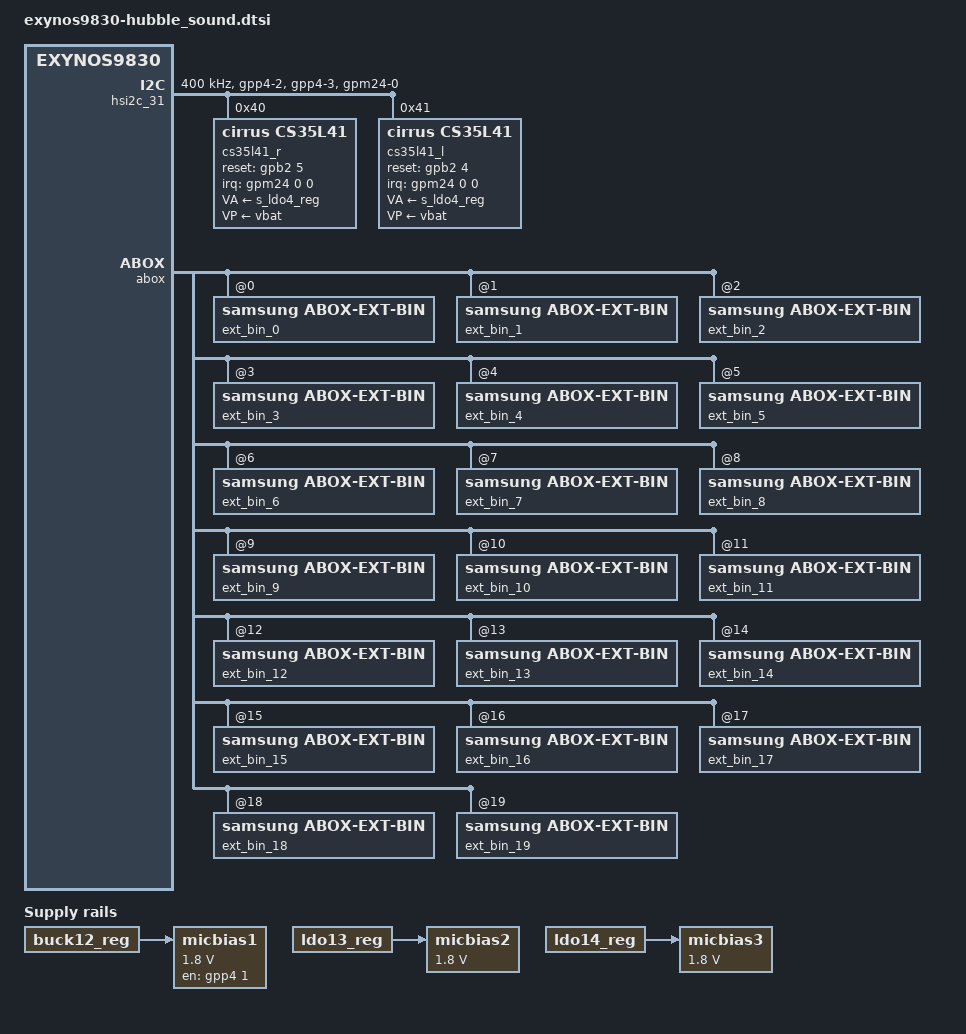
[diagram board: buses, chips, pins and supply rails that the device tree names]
/*
 * Samsung's Picasso SoC soundcard device tree source
 *
 * Copyright (c) 2019 Samsung Electronics Co., Ltd.
 *		http://www.samsung.com
 *
 * This program is free software; you can redistribute it and/or modify
 * it under the terms of the GNU General Public License version 2 as
 * published by the Free Software Foundation.
*/

/ {
	fragment@model {
		target-path = "/";
		__overlay__ {
			micbias1: fixedregulator@1 {
				compatible = "regulator-fixed";
				regulator-name = "main_micbias_1p8";
				regulator-min-microvolt = <1800000>;
				regulator-max-microvolt = <1800000>;
				gpio = <&gpp4 1 0>;
				enable-active-high;
				vin-supply = <&buck12_reg>;
			};

			micbias2: fixedregulator@2 {
				compatible = "regulator-fixed";
				regulator-name = "sub_micbias_1p8";
				regulator-min-microvolt = <1800000>;
				regulator-max-microvolt = <1800000>;
				vin-supply = <&ldo13_reg>;
			};

			micbias3: fixedregulator@3 {
				compatible = "regulator-fixed";
				regulator-name = "3rd_micbias_1p8";
				regulator-min-microvolt = <1800000>;
				regulator-max-microvolt = <1800000>;
				vin-supply = <&ldo14_reg>;
			};

			dummy_audio_codec: audio-codec-dummy {
				compatible = "snd-soc-dummy";
			#sound-dai-cells = <0>;
			};

			dummy_audio_cpu: audio-cpu-dummy {
				compatible = "samsung,dummy-cpu";
			#sound-dai-cells = <0>;
			};

			cirrus_amps {
				compatible = "cirrus-amp";
				cirrus,num-amps = <2>;
				cirrus,amps = <&cs35l41_r &cs35l41_l>;
			};

			sound {
				compatible = "samsung,picasso-prince";

				clock-names = "xclkout";
				clocks = <&clock OSC_AUD>;

				pinctrl-names = "default";
				pinctrl-0 = <&main_mic_bias_en>;

				MICBIAS1-supply = <&micbias1>;
				MICBIAS2-supply = <&micbias2>;
				MICBIAS3-supply = <&micbias3>;

				samsung,routing = "DMIC1", "MICBIAS1",
					"DMIC2", "MICBIAS2",
					"DMIC3", "MICBIAS3",
					"RECEIVER", "Left AMP SPK",
					"SPEAKER", "Right AMP SPK",
					"BLUETOOTH SPK", "ABOX UAIF3 Playback",
					"ABOX UAIF3 Capture", "BLUETOOTH MIC",
					"USB SPK", "ABOX USB Playback",
					"ABOX USB Capture", "USB MIC",
					"FWD SPK", "ABOX FWD Playback",
					"ABOX FWD Capture", "FWD MIC",
					"VTS Virtual Output", "VTS Virtual Output Mux",
					"PAD DPDM", "DMIC1",
					"PAD DPDM", "DMIC2",
					"PAD DPDM", "DMIC3";
				samsung,codec = <&cs35l41_l &cs35l41_r &vts>;
				samsung,prefix = "Left", "Right", "VTS";
				samsung,aux = <&abox_effect &abox_tplg>;

				rdma0 {
					cpu {
						sound-dai = <&abox_rdma_0 0>;
					};
					platform {
						sound-dai = <&abox_rdma_0 0>;
					};
					codec {
						sound-dai = <&dummy_audio_codec>;
					};
				};
				rdma1 {
					cpu {
						sound-dai = <&abox_rdma_1 0>;
					};
					platform {
						sound-dai = <&abox_rdma_1 0>;
					};
					codec {
						sound-dai = <&dummy_audio_codec>;
					};
				};
				rdma2 {
					cpu {
						sound-dai = <&abox_rdma_2 0>;
					};
					platform {
						sound-dai = <&abox_rdma_2 0>;
					};
					codec {
						sound-dai = <&dummy_audio_codec>;
					};
				};
				rdma3 {
					cpu {
						sound-dai = <&abox_rdma_3 0>;
					};
					platform {
						sound-dai = <&abox_rdma_3 0>;
					};
					codec {
						sound-dai = <&dummy_audio_codec>;
					};
				};
				rdma4 {
					cpu {
						sound-dai = <&abox_rdma_4 0>;
					};
					platform {
						sound-dai = <&abox_rdma_4 0>;
					};
					codec {
						sound-dai = <&dummy_audio_codec>;
					};
				};
				rdma5 {
					cpu {
						sound-dai = <&abox_rdma_5 0>;
					};
					platform {
						sound-dai = <&abox_rdma_5 0>;
					};
					codec {
						sound-dai = <&dummy_audio_codec>;
					};
				};
				rdma6 {
					cpu {
						sound-dai = <&abox_rdma_6 0>;
					};
					platform {
						sound-dai = <&abox_rdma_6 0>;
					};
					codec {
						sound-dai = <&dummy_audio_codec>;
					};
				};
				rdma7 {
					cpu {
						sound-dai = <&abox_rdma_7 0>;
					};
					platform {
						sound-dai = <&abox_rdma_7 0>;
					};
					codec {
						sound-dai = <&dummy_audio_codec>;
					};
				};
				rdma8 {
					cpu {
						sound-dai = <&abox_rdma_8 0>;
					};
					platform {
						sound-dai = <&abox_rdma_8 0>;
					};
					codec {
						sound-dai = <&dummy_audio_codec>;
					};
				};
				rdma9 {
					cpu {
						sound-dai = <&abox_rdma_9 0>;
					};
					platform {
						sound-dai = <&abox_rdma_9 0>;
					};
					codec {
						sound-dai = <&dummy_audio_codec>;
					};
				};
				rdma10 {
					cpu {
						sound-dai = <&abox_rdma_10 0>;
					};
					platform {
						sound-dai = <&abox_rdma_10 0>;
					};
					codec {
						sound-dai = <&dummy_audio_codec>;
					};
				};
				rdma11 {
					cpu {
						sound-dai = <&abox_rdma_11 0>;
					};
					platform {
						sound-dai = <&abox_rdma_11 0>;
					};
					codec {
						sound-dai = <&dummy_audio_codec>;
					};
				};
				wdma0 {
					cpu {
						sound-dai = <&abox_wdma_0 0>;
					};
					platform {
						sound-dai = <&abox_wdma_0 0>;
					};
					codec {
						sound-dai = <&dummy_audio_codec>;
					};
				};
				wdma1 {
					cpu {
						sound-dai = <&abox_wdma_1 0>;
					};
					platform {
						sound-dai = <&abox_wdma_1 0>;
					};
					codec {
						sound-dai = <&dummy_audio_codec>;
					};
				};
				wdma2 {
					cpu {
						sound-dai = <&abox_wdma_2 0>;
					};
					platform {
						sound-dai = <&abox_wdma_2 0>;
					};
					codec {
						sound-dai = <&dummy_audio_codec>;
					};
				};
				wdma3 {
					cpu {
						sound-dai = <&abox_wdma_3 0>;
					};
					platform {
						sound-dai = <&abox_wdma_3 0>;
					};
					codec {
						sound-dai = <&dummy_audio_codec>;
					};
				};
				wdma4 {
					cpu {
						sound-dai = <&abox_wdma_4 0>;
					};
					platform {
						sound-dai = <&abox_wdma_4 0>;
					};
					codec {
						sound-dai = <&dummy_audio_codec>;
					};
				};
				vts0 {
					cpu {
						sound-dai = <&vts 0>;
					};
					codec {
						sound-dai = <&dummy_audio_codec>;
					};
				};
				vts1 {
					cpu {
						sound-dai = <&vts 1>;
					};
					codec {
						sound-dai = <&dummy_audio_codec>;
					};
				};
				dp0_audio {
					cpu {
						sound-dai = <&displayport_adma 0>;
					};
					codec {
						sound-dai = <&dummy_audio_codec>;
					};
				};
				dp1_audio {
					cpu {
						sound-dai = <&displayport_adma 1 >;
					};
					codec {
						sound-dai = <&dummy_audio_codec>;
					};
				};
				dual0 {
					cpu {
						sound-dai = <&abox_dual_0>;
					};
					platform {
						sound-dai = <&abox_dual_0>;
					};
					codec {
						sound-dai = <&dummy_audio_codec>;
					};
				};
				dual1 {
					cpu {
						sound-dai = <&abox_dual_1>;
					};
					platform {
						sound-dai = <&abox_dual_1>;
					};
					codec {
						sound-dai = <&dummy_audio_codec>;
					};
				};
				dual2 {
					cpu {
						sound-dai = <&abox_dual_2>;
					};
					platform {
						sound-dai = <&abox_dual_2>;
					};
					codec {
						sound-dai = <&dummy_audio_codec>;
					};
				};
				dual3 {
					cpu {
						sound-dai = <&abox_dual_3>;
					};
					platform {
						sound-dai = <&abox_dual_3>;
					};
					codec {
						sound-dai = <&dummy_audio_codec>;
					};
				};
				dual4 {
					cpu {
						sound-dai = <&abox_dual_4>;
					};
					platform {
						sound-dai = <&abox_dual_4>;
					};
					codec {
						sound-dai = <&dummy_audio_codec>;
					};
				};
				ddma0 {
					cpu {
						sound-dai = <&abox_ddma_0>;
					};
					platform {
						sound-dai = <&abox_ddma_0>;
					};
					codec {
						sound-dai = <&dummy_audio_codec>;
					};
				};
				ddma1 {
					cpu {
						sound-dai = <&abox_ddma_1>;
					};
					platform {
						sound-dai = <&abox_ddma_1>;
					};
					codec {
						sound-dai = <&dummy_audio_codec>;
					};
				};
				ddma2 {
					cpu {
						sound-dai = <&abox_ddma_2>;
					};
					platform {
						sound-dai = <&abox_ddma_2>;
					};
					codec {
						sound-dai = <&dummy_audio_codec>;
					};
				};
				ddma3 {
					cpu {
						sound-dai = <&abox_ddma_3>;
					};
					platform {
						sound-dai = <&abox_ddma_3>;
					};
					codec {
						sound-dai = <&dummy_audio_codec>;
					};
				};
				ddma4 {
					cpu {
						sound-dai = <&abox_ddma_4>;
					};
					platform {
						sound-dai = <&abox_ddma_4>;
					};
					codec {
						sound-dai = <&dummy_audio_codec>;
					};
				};
				ddma5 {
					cpu {
						sound-dai = <&abox_ddma_5>;
					};
					platform {
						sound-dai = <&abox_ddma_5>;
					};
					codec {
						sound-dai = <&dummy_audio_codec>;
					};
				};
				uaif0 {
					format = "i2s";
					cpu {
						sound-dai = <&abox_uaif_0>;
					};
					codec {
						sound-dai = <&dummy_audio_codec>;
					};
				};
				uaif1 {
					format = "i2s";
					cpu {
						sound-dai = <&abox_uaif_1>;
					};
					codec {
						sound-dai = <&dummy_audio_codec>;
					};
				};
				uaif2 {
					format = "dsp_a";
					cpu {
						sound-dai = <&abox_uaif_2>;
					};
					codec {
						sound-dai = <&cs35l41_l 0 &cs35l41_r 0>;
					};
				};
				uaif3 {
					format = "i2s";
					cpu {
						sound-dai = <&abox_uaif_3>;
					};
					codec {
						sound-dai = <&dummy_audio_codec>;
					};
				};
				uaif4 {
					format = "i2s";
					cpu {
						sound-dai = <&abox_uaif_4>;
					};
					codec {
						sound-dai = <&dummy_audio_codec>;
					};
				};
				uaif5 {
					format = "i2s";
					cpu {
						sound-dai = <&abox_uaif_5>;
					};
					codec {
						sound-dai = <&dummy_audio_codec>;
					};
				};
				uaif6 {
					format = "dsp_a";
					bitclock-master;
					bitclock-inversion;
					frame-master;

					cpu {
						sound-dai = <&abox_uaif_6>;
					};
					codec {
						sound-dai = <&vts_s_lif 0>;
					};
				};
				dsif0 {
					format = "pdm";
					cpu {
						sound-dai = <&abox_dsif>;
					};
					codec {
						sound-dai = <&dummy_audio_codec>;
					};
				};
				sifs0 {
					cpu {
						sound-dai = <&abox 0>;
					};
					codec {
						sound-dai = <&dummy_audio_codec>;
					};
				};
				sifs1 {
					cpu {
						sound-dai = <&abox 1>;
					};
					codec {
						sound-dai = <&dummy_audio_codec>;
					};
				};
				sifs2 {
					cpu {
						sound-dai = <&abox 2>;
					};
					codec {
						sound-dai = <&dummy_audio_codec>;
					};
				};
				sifs3 {
					cpu {
						sound-dai = <&abox 3>;
					};
					codec {
						sound-dai = <&dummy_audio_codec>;
					};
				};
				sifs4 {
					cpu {
						sound-dai = <&abox 4>;
					};
					codec {
						sound-dai = <&dummy_audio_codec>;
					};
				};
				sifs5 {
					cpu {
						sound-dai = <&abox 5>;
					};
					codec {
						sound-dai = <&dummy_audio_codec>;
					};
				};
				nsrc0 {
					cpu {
						sound-dai = <&abox 6>;
					};
					codec {
						sound-dai = <&dummy_audio_codec>;
					};
				};
				nsrc1 {
					cpu {
						sound-dai = <&abox 7>;
					};
					codec {
						sound-dai = <&dummy_audio_codec>;
					};
				};
				nsrc2 {
					cpu {
						sound-dai = <&abox 8>;
					};
					codec {
						sound-dai = <&dummy_audio_codec>;
					};
				};
				nsrc3 {
					cpu {
						sound-dai = <&abox 9>;
					};
					codec {
						sound-dai = <&dummy_audio_codec>;
					};
				};
				nsrc4 {
					cpu {
						sound-dai = <&abox 10>;
					};
					codec {
						sound-dai = <&dummy_audio_codec>;
					};
				};
				rdma0_be {
					cpu {
						sound-dai = <&abox_rdma_0 1>;
					};
					platform {
						sound-dai = <&abox_rdma_0 1>;
					};
					codec {
						sound-dai = <&dummy_audio_codec>;
					};
				};
				rdma1_be {
					cpu {
						sound-dai = <&abox_rdma_1 1>;
					};
					platform {
						sound-dai = <&abox_rdma_1 1>;
					};
					codec {
						sound-dai = <&dummy_audio_codec>;
					};
				};
				rdma2_be {
					cpu {
						sound-dai = <&abox_rdma_2 1>;
					};
					platform {
						sound-dai = <&abox_rdma_2 1>;
					};
					codec {
						sound-dai = <&dummy_audio_codec>;
					};
				};
				rdma3_be {
					cpu {
						sound-dai = <&abox_rdma_3 1>;
					};
					platform {
						sound-dai = <&abox_rdma_3 1>;
					};
					codec {
						sound-dai = <&dummy_audio_codec>;
					};
				};
				rdma4_be {
					cpu {
						sound-dai = <&abox_rdma_4 1>;
					};
					platform {
						sound-dai = <&abox_rdma_4 1>;
					};
					codec {
						sound-dai = <&dummy_audio_codec>;
					};
				};
				rdma5_be {
					cpu {
						sound-dai = <&abox_rdma_5 1>;
					};
					platform {
						sound-dai = <&abox_rdma_5 1>;
					};
					codec {
						sound-dai = <&dummy_audio_codec>;
					};
				};
				rdma6_be {
					cpu {
						sound-dai = <&abox_rdma_6 1>;
					};
					platform {
						sound-dai = <&abox_rdma_6 1>;
					};
					codec {
						sound-dai = <&dummy_audio_codec>;
					};
				};
				rdma7_be {
					cpu {
						sound-dai = <&abox_rdma_7 1>;
					};
					platform {
						sound-dai = <&abox_rdma_7 1>;
					};
					codec {
						sound-dai = <&dummy_audio_codec>;
					};
				};
				rdma8_be {
					cpu {
						sound-dai = <&abox_rdma_8 1>;
					};
					platform {
						sound-dai = <&abox_rdma_8 1>;
					};
					codec {
						sound-dai = <&dummy_audio_codec>;
					};
				};
				rdma9_be {
					cpu {
						sound-dai = <&abox_rdma_9 1>;
					};
					platform {
						sound-dai = <&abox_rdma_9 1>;
					};
					codec {
						sound-dai = <&dummy_audio_codec>;
					};
				};
				rdma10_be {
					cpu {
						sound-dai = <&abox_rdma_10 1>;
					};
					platform {
						sound-dai = <&abox_rdma_10 1>;
					};
					codec {
						sound-dai = <&dummy_audio_codec>;
					};
				};
				rdma11_be {
					cpu {
						sound-dai = <&abox_rdma_11 1>;
					};
					platform {
						sound-dai = <&abox_rdma_11 1>;
					};
					codec {
						sound-dai = <&dummy_audio_codec>;
					};
				};
				wdma0_be {
					cpu {
						sound-dai = <&abox_wdma_0 1>;
					};
					platform {
						sound-dai = <&abox_wdma_0 1>;
					};
					codec {
						sound-dai = <&dummy_audio_codec>;
					};
				};
				wdma1_be {
					cpu {
						sound-dai = <&abox_wdma_1 1>;
					};
					platform {
						sound-dai = <&abox_wdma_1 1>;
					};
					codec {
						sound-dai = <&dummy_audio_codec>;
					};
				};
				wdma2_be {
					cpu {
						sound-dai = <&abox_wdma_2 1>;
					};
					platform {
						sound-dai = <&abox_wdma_2 1>;
					};
					codec {
						sound-dai = <&dummy_audio_codec>;
					};
				};
				wdma3_be {
					cpu {
						sound-dai = <&abox_wdma_3 1>;
					};
					platform {
						sound-dai = <&abox_wdma_3 1>;
					};
					codec {
						sound-dai = <&dummy_audio_codec>;
					};
				};
				wdma4_be {
					cpu {
						sound-dai = <&abox_wdma_4 1>;
					};
					platform {
						sound-dai = <&abox_wdma_4 1>;
					};
					codec {
						sound-dai = <&dummy_audio_codec>;
					};
				};
				usb {
					cpu {
						sound-dai = <&abox 16>;
					};
					codec {
						sound-dai = <&dummy_audio_codec>;
					};
				};
				fwd {
					cpu {
						sound-dai = <&abox 17>;
					};
					codec {
						sound-dai = <&dummy_audio_codec>;
					};
				};
			};

			sec-audio-sysfs {
				compatible = "samsung,audio-sysfs";
				status = "okay";
				audio,no-earjack;
				audio,num-amp = <2>;
			};

			sec-audio-debug {
				compatible = "samsung,audio-debug";
				status = "okay";
			};
		}; /* end of __overlay__ */
	}; /* end of fragment */
}; /* end of root */

&pinctrl_1 {
	spk_amp_int: spk-amp-int {
		samsung,pins = "gpm24-0";
		samsung,pin-function = <0xf>;
		samsung,pin-pud = <0>;
		samsung,pin-drv = <0>;
	};
};

&pinctrl_4 {
	main_mic_bias_en: main-mic-bias-en {
		samsung,pins = "gpp4-1";
		samsung,pin-function = <1>;
		samsung,pin-pud = <0>;
		samsung,pin-drv = <0>;
		samsung,pin-con-pdn = <3>;
		samsung,pin-pud-pdn = <0>;
	};
	
	hsi2c31_amp_bus: hsi2c31-amp-bus {
		samsung,pins = "gpp4-2", "gpp4-3";
		samsung,pin-function = <3>;
		samsung,pin-pud = <0>;
		samsung,pin-drv = <0>;
		samsung,pin-pud-pdn = <0>;
	};
};

&pinctrl_5 {
	spk_amp_rst_n: spk-amp-rst-n {
		samsung,pins ="gpb2-5";
		samsung,pin-function = <1>;
		samsung,pin-val = <0>;
		samsung,pin-pud = <0>;
		samsung,pin-con-pdn =<3>;
		samsung,pin-pud-pdn = <0>;
	};
	rcv_amp_rst_n: rcv-amp-rst-n {
		samsung,pins ="gpb2-4";
		samsung,pin-function = <1>;
		samsung,pin-val = <0>;
		samsung,pin-pud = <0>;
		samsung,pin-con-pdn =<3>;
		samsung,pin-pud-pdn = <0>;
	};
};

&hsi2c_31 {
	#address-cells = <1>;
	#size-cells = <0>;
	status = "okay";
	clock-frequency = <400000>;
	pinctrl-names = "default";
	pinctrl-0 = <&hsi2c31_amp_bus &spk_amp_int>;

	cs35l41_r: cs35l41@40 {
		#sound-dai-cells = <1>;
		compatible = "cirrus,cs35l41";
		reg = <0x40>;
		interrupt-parent = <&gpm24>;
		interrupts = <0 0 0>;
		pinctrl-names = "default";
		pinctrl-0 = <&spk_amp_rst_n>;
		reset-gpios = <&gpb2 5 0>;
		VA-supply = <&s_ldo4_reg>;
		VP-supply = <&vbat>;

		cirrus,dsp-part-name = "cs35l40-bot";
		cirrus,right-channel-amp;
		cirrus,mfd-suffix = "_r";
		cirrus,bd-suffix = "_1";
		cirrus,use-fsync-errata;
		cirrus,bd-max-temp = <110>;

		cirrus,asp-sdout-hiz = <0x3>;

		cirrus,dsp-noise-gate-enable;
		cirrus,dsp-noise-gate-delay = <0x2>;
		cirrus,dsp-noise-gate-threshold = <0x6>;

		cirrus,hw-noise-gate-select = <0x3F>;
		cirrus,hw-noise-gate-delay = <0x2>;
		cirrus,hw-noise-gate-threshold = <0x6>;

		cirrus,boost-peak-milliamp = <4100>;

		cirrus,classh-internal-algo {
			cirrus,classh-headroom = <0xb>;
			cirrus,classh-release-rate = <0x4>;
			cirrus,classh-mem-depth = <0x5>;
			cirrus,classh-wk-fet-delay = <0x4>;
			cirrus,classh-wk-fet-thld = <0x1>;
		};

		cirrus,gpio-config2 {
			cirrus,gpio-src-select = <0x4>;
			cirrus,gpio-output-enable;
		};

		cirrus,pwr-params {
			/* cirrus,pwr-global-enable; */
			cirrus,pwr-target-temp = <3700>;
			cirrus,pwr-exit-temp = <3600>;
		};
	};

	cs35l41_l: cs35l41@41 {
		#sound-dai-cells = <1>;
		compatible = "cirrus,cs35l41";
		reg = <0x41>;
		interrupt-parent = <&gpm24>;
		interrupts = <0 0 0>;
		pinctrl-names = "default";
		pinctrl-0 = <&rcv_amp_rst_n>;
		reset-gpios = <&gpb2 4 0>;
		VA-supply = <&s_ldo4_reg>;
		VP-supply = <&vbat>;

		cirrus,dsp-part-name = "cs35l40-rcv";
		cirrus,mfd-suffix = "";
		cirrus,bd-suffix = "_0";
		cirrus,use-fsync-errata;
		cirrus,bd-max-temp = <100>;

		cirrus,asp-sdout-hiz = <0x3>;

		cirrus,dsp-noise-gate-enable;
		cirrus,dsp-noise-gate-delay = <0x2>;
		cirrus,dsp-noise-gate-threshold = <0x6>;

		cirrus,hw-noise-gate-select = <0x3F>;
		cirrus,hw-noise-gate-delay = <0x2>;
		cirrus,hw-noise-gate-threshold = <0x6>;

		cirrus,boost-peak-milliamp = <4100>;

		cirrus,classh-internal-algo {
			cirrus,classh-headroom = <0xb>;
			cirrus,classh-release-rate = <0x4>;
			cirrus,classh-mem-depth = <0x5>;
			cirrus,classh-wk-fet-delay = <0x4>;
			cirrus,classh-wk-fet-thld = <0x1>;
		};

		cirrus,gpio-config2 {
			cirrus,gpio-src-select = <0x4>;
			cirrus,gpio-output-enable;
		};

		cirrus,pwr-params {
			/* cirrus,pwr-global-enable; */
			cirrus,pwr-target-temp = <3900>;
			cirrus,pwr-exit-temp = <3800>;
		};
	};
};

&abox {
	ext_bin_0: ext-bin@0 {
		compatible = "samsung,abox-ext-bin";
		samsung,name = "APSV_AUDIO_SLSI.bin";
		samsung,area = <1>;
		samsung,offset = <0x582000>;
		samsung,changable;
	};

	ext_bin_1: ext-bin@1 {
		compatible = "samsung,abox-ext-bin";
		samsung,name = "AP_AUDIO_SLSI.bin";
		samsung,area = <1>;
		samsung,offset = <0x5EA000>;
		samsung,changable;
	};

	ext_bin_2: ext-bin@2 {
		compatible = "samsung,abox-ext-bin";
		samsung,name = "APBargeIn_AUDIO_SLSI.bin";
		samsung,area = <1>;
		samsung,offset = <0x652000>;
		samsung,changable;
	};

	ext_bin_3: ext-bin@3 {
		compatible = "samsung,abox-ext-bin";
		samsung,name = "APBiBF_AUDIO_SLSI.bin";
		samsung,area = <1>;
		samsung,offset = <0x655000>;
		samsung,changable;
	};

	ext_bin_4: ext-bin@4 {
		compatible = "samsung,abox-ext-bin";
		samsung,name = "APDV_AUDIO_SLSI.bin";
		samsung,area = <1>;
		samsung,offset = <0x656000>;
		samsung,changable;
	};

	ext_bin_5: ext-bin@5 {
		compatible = "samsung,abox-ext-bin";
		samsung,name = "SoundBoosterParam.bin";
		samsung,area = <1>;
		samsung,offset = <0x6D6000>;
		samsung,changable;
	};

	ext_bin_6: ext-bin@6 {
		compatible = "samsung,abox-ext-bin";
		samsung,name = "bidirmic.bin";
		samsung,area = <1>;
		samsung,offset = <0x700000>;
	};

	ext_bin_7: ext-bin@7 {
		compatible = "samsung,abox-ext-bin";
		samsung,name = "txse1.bin";
		samsung,area = <1>;
		samsung,offset = <0x1800000>;
	};

	ext_bin_8: ext-bin@8 {
		compatible = "samsung,abox-ext-bin";
		samsung,name = "txse2.bin";
		samsung,area = <1>;
		samsung,offset = <0x19e4000>;
	};

	ext_bin_9: ext-bin@9 {
		compatible = "samsung,abox-ext-bin";
		samsung,name = "volumemonitor.bin";
		samsung,area = <1>;
		samsung,offset = <0x1a16000>;
	};

	ext_bin_10: ext-bin@10 {
		compatible = "samsung,abox-ext-bin";
		samsung,name = "sv.bin";
		samsung,area = <1>;
		samsung,offset = <0x1A2F000>;
	};

	ext_bin_11: ext-bin@11 {
		compatible = "samsung,abox-ext-bin";
		samsung,name = "rxse.bin";
		samsung,area = <1>;
		samsung,offset = <0x1E4F000>;
	};

	ext_bin_12: ext-bin@12 {
		compatible = "samsung,abox-ext-bin";
		samsung,name = "sb_music.bin";
		samsung,area = <1>;
		samsung,offset = <0x1EFF000>;
	};

	ext_bin_13: ext-bin@13 {
		compatible = "samsung,abox-ext-bin";
		samsung,name = "sb_others.bin";
		samsung,area = <1>;
		samsung,offset = <0x1FDD000>;
	};

	ext_bin_14: ext-bin@14 {
		compatible = "samsung,abox-ext-bin";
		samsung,name = "sb_ll.bin";
		samsung,area = <1>;
		samsung,offset = <0x20BB000>;
	};

	ext_bin_15: ext-bin@15 {
		compatible = "samsung,abox-ext-bin";
		samsung,name = "listenbackeffect.bin";
		samsung,area = <1>;
		samsung,offset = <0x2199000>;
	};

	ext_bin_16: ext-bin@16 {
		compatible = "samsung,abox-ext-bin";
		samsung,name = "a2dpcom.bin";
		samsung,area = <1>;
		samsung,offset = <0x21FD000>;
	};

	ext_bin_17: ext-bin@17 {
		compatible = "samsung,abox-ext-bin";
		samsung,name = "avsyncmix.bin";
		samsung,area = <1>;
		samsung,offset = <0x2341000>;
	};

	ext_bin_18: ext-bin@18 {
		compatible = "samsung,abox-ext-bin";
		samsung,name = "txse3.bin";
		samsung,area = <1>;
		samsung,offset = <0x257C000>;
	};

	ext_bin_19: ext-bin@19 {
		compatible = "samsung,abox-ext-bin";
		samsung,name = "APTV_AUDIO_SLSI.bin";
		samsung,area = <1>;
		samsung,offset = <0x6DA000>;
		samsung,changable;
	};
};

&abox_uaif_0 {
	pinctrl-names;
};

&abox_uaif_1 {
	pinctrl-names;
};

&abox_uaif_4 {
	pinctrl-names;
};

&abox_uaif_5 {
	pinctrl-names;
};
